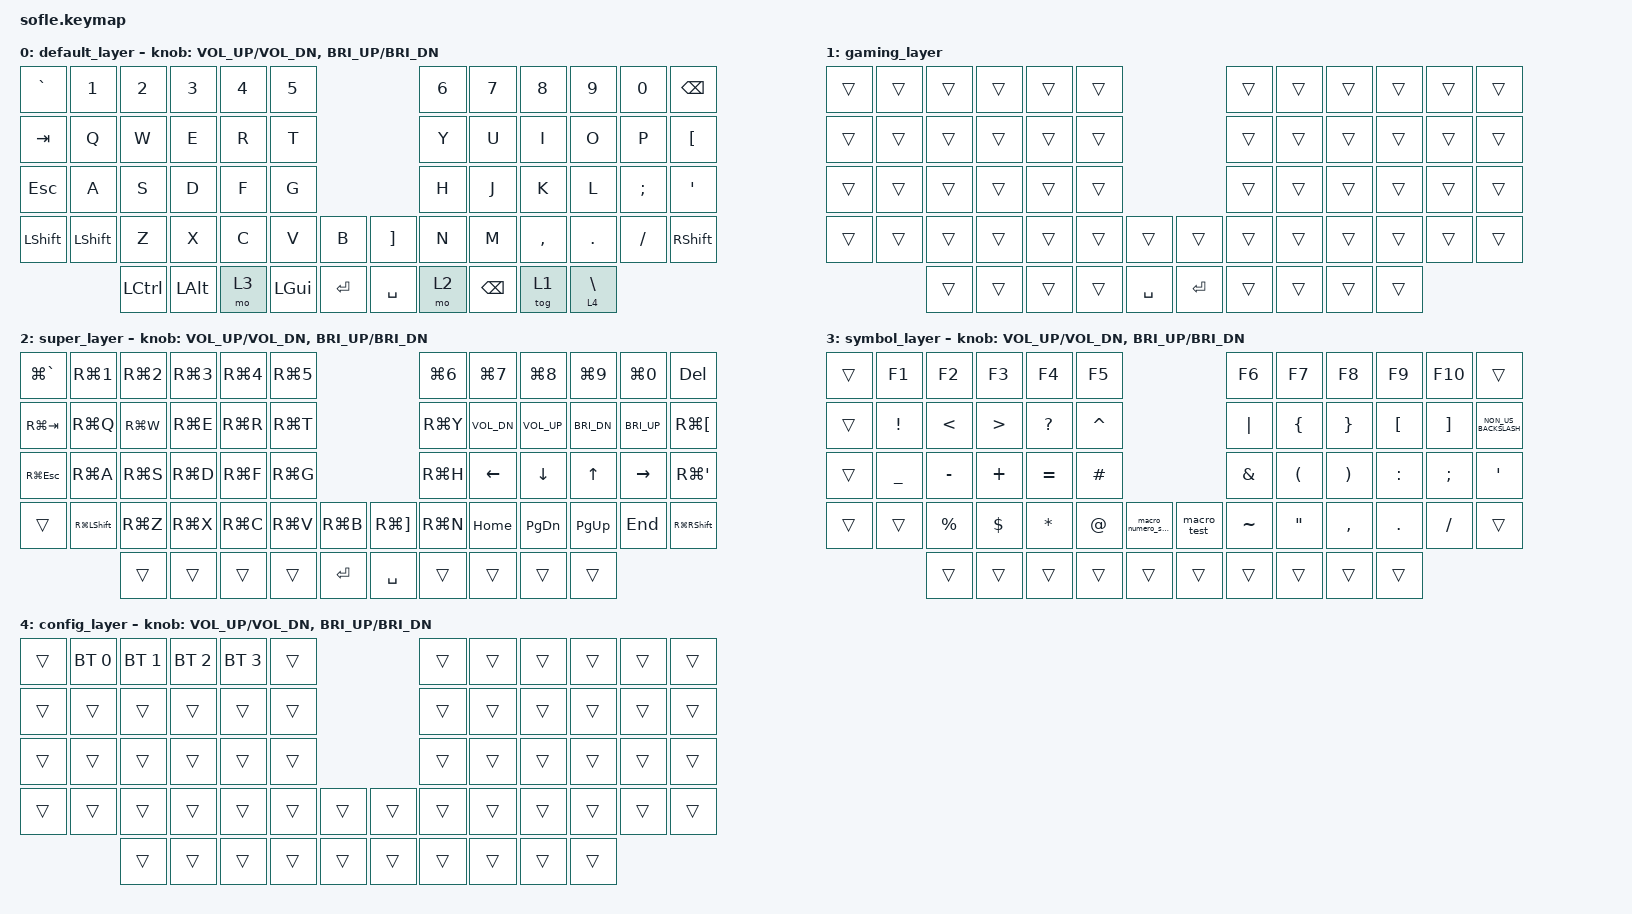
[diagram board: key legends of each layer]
/*
 * Copyright (c) 2020 The ZMK Contributors
 *
 * SPDX-License-Identifier: MIT
 */
// My Sofle v2 keymap
// Also possible to generate with https://nickcoutsos.github.io/keymap-editor/

#include <behaviors.dtsi>
#include <dt-bindings/zmk/bt.h>
#include <dt-bindings/zmk/keys.h>

/ {
    combos {
        compatible = "zmk,combos";

        combo_escape {
            bindings = <&kp ESCAPE>;
            key-positions = <0 1>;
        };

        combo_bootloader_left {
            bindings = <&bootloader>;
            key-positions = <2 3 4 5>;
        };

        combo_bootloader_right {
            bindings = <&bootloader>;
            key-positions = <6 7 8 9>;
        };

        combo_config_layer {
            bindings = <&mo 4>;
            key-positions = <53 56>;
            slow-release;
        };

        combo_cycle_tabs {
            bindings = <&kp LC(TAB)>;
            key-positions = <53 24>;
        };
    };

    macros {
        macro_test: macro_test {
            compatible = "zmk,behavior-macro";
            #binding-cells = <0>;
            bindings = <&kp LS(S) &kp O &kp F &kp L &kp E &kp SPACE &kp V &kp N2 &kp SPACE &kp EXCL>;
            label = "MACRO_TEST";
        };

        macro_numero_sign: macro_numero_sign {
            compatible = "zmk,behavior-macro";
            #binding-cells = <0>;
            bindings = <&kp LC(SPACE) &kp LA(T) &kp LC(SPACE)>;
            label = "MACRO_NUMERO_SIGN";
        };
    };

    keymap {
        compatible = "zmk,keymap";

        default_layer {
            // Layer 0 BASE Layer
            // ------------------------------------------------------------------------------------------------------------
            // |  `    |  1  |  2   |  3   |  4   |  5   |                   |  6   |  7    |  8    |  9   |   0   | BKSPC |
            // |  TAB  |  Q  |  W   |  E   |  R   |  T   |                   |  Y   |  U    |  I    |  O   |   P   |   \   |
            // |  ESC  |  A  |  S   |  D   |  F   |  G   |                   |  H   |  J    |  K    |  L   |   ;   |   '   |
            // | LSHFT |LSHFT|  Z   |  X   |  C   |  V   |    B   |  | MUTE  |  N   |  M    |  ,    |  .   |   /   | SHIFT |
            //               |LCTRL | LALT | LCMD |SYMBOL|  ENTER |  | SPACE |SUPER | RCMD  | RALT  |RCTRL |

            bindings = <
&kp GRAVE   &kp N1          &kp N2     &kp N3    &kp N4  &kp N5                                    &kp N6  &kp N7         &kp N8     &kp N9           &kp N0     &kp BSPC
&kp TAB     &kp Q           &kp W      &kp E     &kp R   &kp T                                     &kp Y   &kp U          &kp I      &kp O            &kp P      &kp LEFT_BRACKET
&kp ESC     &kp A           &kp S      &kp D     &kp F   &kp G                                     &kp H   &kp J          &kp K      &kp L            &kp SEMI   &kp SQT
&kp LSHIFT  &kp LEFT_SHIFT  &kp Z      &kp X     &kp C   &kp V     &kp B        &kp RIGHT_BRACKET  &kp N   &kp M          &kp COMMA  &kp DOT          &kp SLASH  &kp RSHFT
                            &kp LCTRL  &kp LALT  &mo 3   &kp LGUI  &kp ENTER    &kp SPACE          &mo 2   &kp BACKSPACE  &tog 1     &lt 4 BACKSLASH
            >;

            sensor-bindings = <&inc_dec_kp C_VOL_UP C_VOL_DN &inc_dec_kp C_BRI_UP C_BRI_DN>;
        };

        gaming_layer {
            bindings = <
&trans  &trans  &trans  &trans  &trans  &trans                          &trans  &trans  &trans  &trans  &trans  &trans
&trans  &trans  &trans  &trans  &trans  &trans                          &trans  &trans  &trans  &trans  &trans  &trans
&trans  &trans  &trans  &trans  &trans  &trans                          &trans  &trans  &trans  &trans  &trans  &trans
&trans  &trans  &trans  &trans  &trans  &trans  &trans       &trans     &trans  &trans  &trans  &trans  &trans  &trans
                &trans  &trans  &trans  &trans  &kp SPACE    &kp ENTER  &trans  &trans  &trans  &trans
            >;
        };

        super_layer {
            // Layer 2 `$mo 2` - SUPER Layer
            // ------------------------------------------------------------------------------------------------------------
            // |     | 1    |  2   |   3   |   4   |  5   |                  |      |      |       |      |       | DEL   |
            // |     | Q    |  W   |   E   |   R   |  T   |                  |      | VOL- | VOL+  | BRI- | BRI+  |       |
            // |     | A    |  S   |   D   |   F   |  G   |                  |      |   <- |   v   |  ^   |  ->   |       |
            // |     |      |  Z   |   X   |   C   |   V  |  B    |  |       |      | HOME | PGDN  | PGUP |  END  |       |
            //              |      |       |       |      |       |  |       |      |      |       |      |

            bindings = <
&kp LG(GRAVE)   &kp RG(N1)          &kp RG(N2)  &kp RG(N3)  &kp RG(N4)  &kp RG(N5)                                      &kp LG(NUMBER_6)  &kp LG(N7)    &kp LG(N8)    &kp LG(N9)    &kp LG(N0)    &kp DEL
&kp RG(TAB)     &kp RG(Q)           &kp RG(W)   &kp RG(E)   &kp RG(R)   &kp RG(T)                                       &kp RG(Y)         &kp C_VOL_DN  &kp C_VOL_UP  &kp C_BRI_DN  &kp C_BRI_UP  &kp RG(LEFT_BRACKET)
&kp RG(ESCAPE)  &kp RG(A)           &kp RG(S)   &kp RG(D)   &kp RG(F)   &kp RG(G)                                       &kp RG(H)         &kp LEFT      &kp DOWN      &kp UP        &kp RIGHT     &kp RG(SINGLE_QUOTE)
&trans          &kp RG(LEFT_SHIFT)  &kp RG(Z)   &kp RG(X)   &kp RG(C)   &kp RG(V)   &kp RG(B)    &kp RG(RIGHT_BRACKET)  &kp RG(N)         &kp HOME      &kp PG_DN     &kp PG_UP     &kp END       &kp RG(RIGHT_SHIFT)
                                    &trans      &trans      &trans      &trans      &kp ENTER    &kp SPACE              &trans            &trans        &trans        &trans
            >;

            sensor-bindings = <&inc_dec_kp C_VOL_UP C_VOL_DN &inc_dec_kp C_BRI_UP C_BRI_DN>;
        };

        symbol_layer {
            // Layer 1 `$mo 1` - SYMBOL Layer
            // TODO: Some binds are waiting for shifted keycode support.
            // ------------------------------------------------------------------------------------------------------------
            // |  `    |  F1 |  F2 |  F3  |  F4  |  F5  |                   |  F6  |  F7   |  F8   |  F9  |  F10  |       |
            // |       |  ! |   <  |   >  |  ^   |  #   |                   |  |   |   {   |   }   |   [  |   ]   |   \   |
            // |       |  _ |   -  |  +   |  =   |  #   |                   |  &   |   :   |   (   |   )  |   ;   |   '   |
            // |       |    |   ?  |  %   |  $   |  *   |   @    |  |       |  ~   |   "   |   ,   |   .  |   /   |       |
            //              |      |      |      |      |        |  | BKSPC |      |       |       |      |

            bindings = <
&trans  &kp F1     &kp F2       &kp F3      &kp F4        &kp F5                                          &kp F6     &kp F7                &kp F8                 &kp F9     &kp F10    &trans
&trans  &kp EXCL   &kp LT       &kp GT      &kp QUESTION  &kp CARET                                       &kp PIPE   &kp LBRC              &kp RBRC               &kp LBKT   &kp RBKT   &kp NON_US_BACKSLASH
&trans  &kp UNDER  &kp MINUS    &kp PLUS    &kp EQUAL     &kp HASH                                        &kp AMPS   &kp LEFT_PARENTHESIS  &kp RIGHT_PARENTHESIS  &kp COLON  &kp SEMI   &kp SQT
&trans  &trans     &kp PERCENT  &kp DOLLAR  &kp ASTERISK  &kp AT_SIGN  &macro_numero_sign    &macro_test  &kp TILDE  &kp DQT               &kp COMMA              &kp DOT    &kp SLASH  &trans
                   &trans       &trans      &trans        &trans       &trans                &trans       &trans     &trans                &trans                 &trans
            >;

            sensor-bindings = <&inc_dec_kp C_VOL_UP C_VOL_DN &inc_dec_kp C_BRI_UP C_BRI_DN>;
        };

        config_layer {
            // Layer 3 `$mo 3` - CONFIG Layer
            // ------------------------------------------------------------------------------------------------------------
            // |BTCLR| BT1  | BT2  |  BT3  |  BT4  |      |                  |      |      |       |      |       |       |
            // |     |      |      |       |       |      |                  |      |      |       |      |       |       |
            // |     |      |      |       |       |      |                  |      |      |       |      |       |       |
            // |     |      |      |       |       |      |       |  |       |      |      |       |      |       |       |
            //              |      |       |       |      |       |  |       |      |      |       |      |

            bindings = <
&trans  &bt BT_SEL 0  &bt BT_SEL 1  &bt BT_SEL 2  &bt BT_SEL 3  &trans                    &trans  &trans  &trans  &trans  &trans  &trans
&trans  &trans        &trans        &trans        &trans        &trans                    &trans  &trans  &trans  &trans  &trans  &trans
&trans  &trans        &trans        &trans        &trans        &trans                    &trans  &trans  &trans  &trans  &trans  &trans
&trans  &trans        &trans        &trans        &trans        &trans  &trans    &trans  &trans  &trans  &trans  &trans  &trans  &trans
                      &trans        &trans        &trans        &trans  &trans    &trans  &trans  &trans  &trans  &trans
            >;

            sensor-bindings = <&inc_dec_kp C_VOL_UP C_VOL_DN &inc_dec_kp C_BRI_UP C_BRI_DN>;
        };

        /* Mostly default
        raise_layer {
            // ------------------------------------------------------------------------------------------------------------
            // |BTCLR| BT1  | BT2  |  BT3  |  BT4  |  BT5 |                  |      |      |       |      |       |       |
            // |     | INS  | PSCR | GUI   |       |      |                  |      |      |       |      |       |       |
            // |     | ALT  | CTRL | SHIFT |       | CAPS |                  |      |   <- |   v   |   ^  |  ->   |       |
            // |     | UNDO | CUT  | COPY  | PASTE |      |       |  |       | BACK | HOME | PGDN  | PGUP |  END  |FORWARD|
            //              |      |       |       |      |       |  |       |      |      |       |      |
            bindings = <
&bt BT_CLR  &bt BT_SEL 0  &bt BT_SEL 1  &bt BT_SEL 2  &bt BT_SEL 3  &bt BT_SEL 4                    &trans     &trans    &trans    &trans     &trans     &trans
&trans      &kp INS       &kp PSCRN     &kp K_CMENU   &trans        &trans                          &trans     &trans    &trans    &trans     &trans     &trans
&trans      &kp LALT      &kp LCTRL     &kp LSHFT     &trans        &kp CLCK                        &trans     &kp LEFT  &kp DOWN  &kp UP     &kp RIGHT  &trans
&trans      &kp K_UNDO    &kp K_CUT     &kp K_COPY    &kp K_PASTE   &trans        &trans    &trans  &trans     &kp HOME  &kp PG_DN &kp PG_UP  &kp END    &trans
                          &trans        &trans        &trans        &trans        &trans    &trans  &trans     &trans    &trans    &trans
            >;

            sensor-bindings = <&inc_dec_kp C_VOL_UP C_VOL_DN &inc_dec_kp C_BRI_UP C_BRI_DN>;
        };
*/
    };
};
